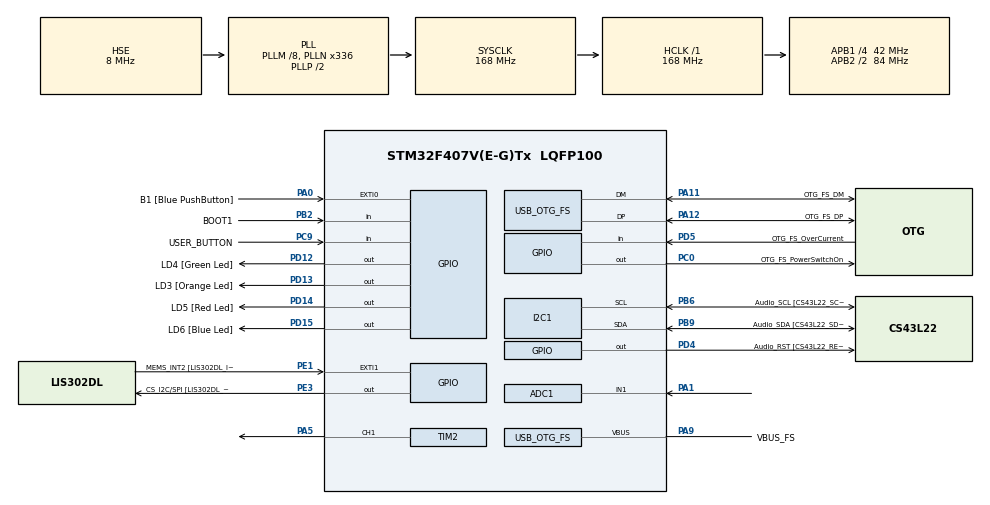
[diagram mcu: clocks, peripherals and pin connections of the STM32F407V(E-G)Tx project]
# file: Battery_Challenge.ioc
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ADC1.Channel-0\#ChannelRegularConversion=ADC_CHANNEL_1
ADC1.NbrOfConversionFlag=1
ADC1.Rank-0\#ChannelRegularConversion=1
ADC1.SamplingTime-0\#ChannelRegularConversion=ADC_SAMPLETIME_480CYCLES
ADC1.master=1
Mcu.Family=STM32F4
Mcu.Name=STM32F407V(E-G)Tx
Mcu.Package=LQFP100
NVIC.OTG_FS_IRQn=true\:0\:0\:false\:false\:true\:true\:true\:true
NVIC.PriorityGroup=NVIC_PRIORITYGROUP_0
PA0-WKUP.GPIO_Label=B1 [Blue PushButton]
PA0-WKUP.GPIO_ModeDefaultEXTI=GPIO_MODE_EVT_RISING
PA0-WKUP.GPIO_PuPd=GPIO_NOPULL
PA0-WKUP.Signal=GPXTI0
PA1.Signal=ADCx_IN1
PA10.GPIO_Label=OTG_FS_ID
PA10.GPIO_Mode=GPIO_MODE_AF_PP
PA10.GPIO_PuPd=GPIO_NOPULL
PA10.GPIO_Speed=GPIO_SPEED_FREQ_LOW
PA10.Signal=USB_OTG_FS_ID
PA11.GPIO_Label=OTG_FS_DM
PA11.GPIO_Mode=GPIO_MODE_AF_PP
PA11.GPIO_PuPd=GPIO_NOPULL
PA11.GPIO_Speed=GPIO_SPEED_FREQ_LOW
PA11.Mode=Host_Only
PA11.Signal=USB_OTG_FS_DM
PA12.GPIO_Label=OTG_FS_DP
PA12.GPIO_Mode=GPIO_MODE_AF_PP
PA12.GPIO_PuPd=GPIO_NOPULL
PA12.GPIO_Speed=GPIO_SPEED_FREQ_LOW
PA12.Mode=Host_Only
PA12.Signal=USB_OTG_FS_DP
PA13.GPIO_Label=SWDIO
PA13.Mode=Serial_Wire
PA13.Signal=SYS_JTMS-SWDIO
PA14.GPIO_Label=SWCLK
PA14.Mode=Serial_Wire
PA14.Signal=SYS_JTCK-SWCLK
PA5.Signal=S_TIM2_CH1_ETR
PA9.GPIO_Label=VBUS_FS
PA9.GPIO_Mode=GPIO_MODE_INPUT
PA9.GPIO_PuPd=GPIO_NOPULL
PA9.Mode=Activate_VBUS
PA9.Signal=USB_OTG_FS_VBUS
PB10.GPIO_Label=CLK_IN [MP45DT02_CLK]
PB10.GPIO_Mode=GPIO_MODE_AF_PP
PB10.GPIO_PuPd=GPIO_NOPULL
PB10.GPIO_Speed=GPIO_SPEED_FREQ_LOW
PB10.Signal=I2S2_CK
PB2.GPIO_Label=BOOT1
PB2.GPIO_Mode=GPIO_MODE_INPUT
PB2.GPIO_PuPd=GPIO_NOPULL
PB2.Signal=GPIO_Input
PB3.GPIO_Label=SWO
PB3.Signal=SYS_JTDO-SWO
PB6.GPIO_Label=Audio_SCL [CS43L22_SCL]
PB6.GPIO_Mode=GPIO_MODE_AF_OD
PB6.GPIO_Pu=GPIO_PULLUP
PB6.GPIO_PuPd=GPIO_NOPULL
PB6.GPIO_Speed=GPIO_SPEED_FREQ_LOW
PB6.Mode=I2C
PB6.Signal=I2C1_SCL
PB9.GPIO_Label=Audio_SDA [CS43L22_SDA]
PB9.GPIO_Mode=GPIO_MODE_AF_OD
PB9.GPIO_Pu=GPIO_PULLUP
PB9.GPIO_PuPd=GPIO_NOPULL
PB9.GPIO_Speed=GPIO_SPEED_FREQ_LOW
PB9.Mode=I2C
PB9.Signal=I2C1_SDA
PC0.GPIO_Label=OTG_FS_PowerSwitchOn
PC0.GPIO_PuPd=GPIO_NOPULL
PC0.GPIO_Speed=GPIO_SPEED_FREQ_LOW
PC0.PinState=GPIO_PIN_SET
PC0.Signal=GPIO_Output
PC10.GPIO_Label=I2S3_SCK [CS43L22_SCLK]
PC10.GPIO_Mode=GPIO_MODE_AF_PP
PC10.GPIO_PuPd=GPIO_NOPULL
PC10.GPIO_Speed=GPIO_SPEED_FREQ_LOW
PC10.Signal=I2S3_CK
PC12.GPIO_Label=I2S3_SD [CS43L22_SDIN]
PC12.GPIO_Mode=GPIO_MODE_AF_PP
PC12.GPIO_PuPd=GPIO_NOPULL
PC12.GPIO_Speed=GPIO_SPEED_FREQ_LOW
PC12.Signal=I2S3_SD
PC14-OSC32_IN.GPIO_Label=PC14-OSC32_IN
PC14-OSC32_IN.Mode=LSE-External-Oscillator
PC14-OSC32_IN.Signal=RCC_OSC32_IN
PC15-OSC32_OUT.GPIO_Label=PC15-OSC32_OUT
PC15-OSC32_OUT.Mode=LSE-External-Oscillator
PC15-OSC32_OUT.Signal=RCC_OSC32_OUT
PC3.GPIO_Label=PDM_OUT [MP45DT02_DOUT]
PC3.GPIO_Mode=GPIO_MODE_AF_PP
PC3.GPIO_PuPd=GPIO_NOPULL
PC3.GPIO_Speed=GPIO_SPEED_FREQ_LOW
PC3.Signal=I2S2_SD
PC7.GPIO_Label=I2S3_MCK [CS43L22_MCLK]
PC7.GPIO_Mode=GPIO_MODE_AF_PP
PC7.GPIO_PuPd=GPIO_NOPULL
PC7.GPIO_Speed=GPIO_SPEED_FREQ_LOW
PC7.Signal=I2S3_MCK
PC9.GPIO_Label=USER_BUTTON
PC9.GPIO_PuPd=GPIO_PULLUP
PC9.Signal=GPIO_Input
PD12.GPIO_Label=LD4 [Green Led]
PD12.GPIO_PuPd=GPIO_NOPULL
PD12.GPIO_Speed=GPIO_SPEED_FREQ_LOW
PD12.Signal=GPIO_Output
PD13.GPIO_Label=LD3 [Orange Led]
PD13.GPIO_PuPd=GPIO_NOPULL
PD13.GPIO_Speed=GPIO_SPEED_FREQ_LOW
PD13.Signal=GPIO_Output
PD14.GPIO_Label=LD5 [Red Led]
PD14.GPIO_PuPd=GPIO_NOPULL
PD14.GPIO_Speed=GPIO_SPEED_FREQ_LOW
PD14.Signal=GPIO_Output
PD15.GPIO_Label=LD6 [Blue Led]
PD15.GPIO_PuPd=GPIO_NOPULL
PD15.GPIO_Speed=GPIO_SPEED_FREQ_LOW
PD15.Signal=GPIO_Output
PD4.GPIO_Label=Audio_RST [CS43L22_RESET]
PD4.GPIO_PuPd=GPIO_NOPULL
PD4.GPIO_Speed=GPIO_SPEED_FREQ_LOW
PD4.Signal=GPIO_Output
PD5.GPIO_Label=OTG_FS_OverCurrent
PD5.GPIO_Mode=GPIO_MODE_INPUT
PD5.GPIO_PuPd=GPIO_NOPULL
PD5.Signal=GPIO_Input
PE1.GPIO_Label=MEMS_INT2 [LIS302DL_INT2]
PE1.GPIO_ModeDefaultEXTI=GPIO_MODE_EVT_RISING
PE1.GPIO_PuPd=GPIO_NOPULL
PE1.Signal=GPXTI1
PE3.GPIO_Label=CS_I2C/SPI [LIS302DL_CS_I2C/SPI]
PE3.GPIO_PuPd=GPIO_NOPULL
PE3.GPIO_Speed=GPIO_SPEED_FREQ_LOW
PE3.Signal=GPIO_Output
PH0-OSC_IN.GPIO_Label=PH0-OSC_IN
PH0-OSC_IN.Mode=HSE-External-Oscillator
PH0-OSC_IN.Signal=RCC_OSC_IN
PH1-OSC_OUT.GPIO_Label=PH1-OSC_OUT
PH1-OSC_OUT.Mode=HSE-External-Oscillator
PH1-OSC_OUT.Signal=RCC_OSC_OUT
ProjectManager.HeapSize=0x200
ProjectManager.StackSize=0x400
ProjectManager.TargetToolchain=STM32CubeIDE
RCC.48MHZClocksFreq_Value=48000000
RCC.AHBFreq_Value=168000000
RCC.APB1CLKDivider=RCC_HCLK_DIV4
RCC.APB1Freq_Value=42000000
RCC.APB1TimFreq_Value=84000000
RCC.APB2CLKDivider=RCC_HCLK_DIV2
RCC.APB2Freq_Value=84000000
RCC.APB2TimFreq_Value=168000000
RCC.CortexFreq_Value=168000000
RCC.HCLKFreq_Value=168000000
RCC.HSE_VALUE=8000000
RCC.HSI_VALUE=16000000
RCC.PLLM=8
RCC.PLLN=336
RCC.PLLQ=7
RCC.SYSCLKFreq_VALUE=168000000
RCC.SYSCLKSource=RCC_SYSCLKSOURCE_PLLCLK
RCC.VCOOutputFreq_Value=336000000
SH.ADCx_IN1.0=ADC1_IN1,IN1
SH.S_TIM2_CH1_ETR.0=TIM2_CH1,PWM Generation1 CH1
TIM2.Channel-PWM\ Generation1\ CH1=TIM_CHANNEL_1
TIM2.Period=4999
TIM2.Prescaler=8399
TIM2.Pulse-PWM\ Generation1\ CH1=1
TIM2.TIM_MasterOutputTrigger=TIM_TRGO_UPDATE
USB_HOST.BSP.number=1
USB_HOST.USBH_HandleTypeDef-CDC_FS=hUsbHostFS
USB_HOST.VirtualModeFS=Cdc
USB_HOST0.BSP.STBoard=false
USB_HOST0.BSP.api=Unknown
USB_HOST0.BSP.instance=PC0
USB_HOST0.BSP.ip=GPIO
USB_HOST0.BSP.mode=Output
USB_HOST0.BSP.name=Drive_VBUS_FS
USB_HOST0.BSP.solution=PC0
USB_OTG_FS.VirtualMode=Host_Only
USB_OTG_FS.phy_itface=HCD_PHY_EMBEDDED
VP_TIM2_VS_ClockSourceINT.Mode=Internal
VP_USB_HOST_VS_USB_HOST_CDC_FS.Mode=CDC_FS
board=STM32F407G-DISC1

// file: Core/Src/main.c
/* USER CODE BEGIN Header */
/**
  ******************************************************************************
  * @file           : main.c
  * @brief          : Main program body
  ******************************************************************************
  * @attention
  *
  * Copyright (c) 2025 STMicroelectronics.
  * All rights reserved.
  *
  * This software is licensed under terms that can be found in the LICENSE file
  * in the root directory of this software component.
  * If no LICENSE file comes with this software, it is provided AS-IS.
  *
  ******************************************************************************
  */
/* USER CODE END Header */
#include "main.h"
#include "usb_host.h"

ADC_HandleTypeDef hadc1;

I2C_HandleTypeDef hi2c1;

TIM_HandleTypeDef htim2;

/* USER CODE BEGIN PV */

uint16_t gADC_Value = 0;
float gADC_Voltage = 0;

uint16_t gMode = 0;
uint16_t gLowVoltage = 0;

/* USER CODE END PV */

void SystemClock_Config(void);
static void MX_GPIO_Init(void);
static void MX_I2C1_Init(void);
static void MX_TIM2_Init(void);
static void MX_ADC1_Init(void);
void MX_USB_HOST_Process(void);

/* USER CODE BEGIN 0 */

float map(int x, int in_min, int in_max, float out_min, float out_max)
{
    return ((float)(x - in_min) * (out_max - out_min)) / (in_max - in_min) + out_min;
}

/* USER CODE END 0 */

int main(void)
{

  /* MCU Configuration--------------------------------------------------------*/

  /* Reset of all peripherals, Initializes the Flash interface and the Systick. */
  HAL_Init();

  /* Configure the system clock */
  SystemClock_Config();

  /* Initialize all configured peripherals */
  MX_GPIO_Init();
  MX_I2C1_Init();
  MX_USB_HOST_Init();
  MX_TIM2_Init();
  MX_ADC1_Init();
  /* USER CODE BEGIN 2 */

  HAL_TIM_PWM_Start(&htim2, TIM_CHANNEL_1);

  /* USER CODE END 2 */

  /* Infinite loop */
  /* USER CODE BEGIN WHILE */
  while (1)
  {

	  // --- Read ADC ---
	  HAL_ADC_Start(&hadc1);
	  HAL_ADC_PollForConversion(&hadc1, 100);
	  gADC_Value = HAL_ADC_GetValue(&hadc1);
	  HAL_ADC_Stop(&hadc1);

	  // --- Calculate voltage ---
	  gADC_Voltage = map(gADC_Value, 0, 4095, 0.0f, 12.0f);

	  // --- Hysteresis: Enter or exit lockout mode ---
	  if (gADC_Voltage <= 6.5f)
	  {
		  gLowVoltage = 1;
	  }
	  else if (gADC_Voltage >= 7.0f)
	  {
		  gLowVoltage = 0;
	  }

	  // --- Control output based on state ---
	  if (gLowVoltage)
	  {
		  // Force motor OFF (LED full ON)
	      __HAL_TIM_SET_COMPARE(&htim2, TIM_CHANNEL_1, 0);
	  }
	  else
	  {
		  // Handle button press for mode control
	      if (HAL_GPIO_ReadPin(USER_BUTTON_GPIO_Port, USER_BUTTON_Pin) == GPIO_PIN_RESET)
	      {
	    	  gMode++;
	          if (gMode >= 3)
	          {
	        	  gMode = 0;
	          }

	           HAL_Delay(300); // Debounce
	          }
	      switch (gMode)
	      {
	      case 0:
	    	  __HAL_TIM_SET_COMPARE(&htim2, TIM_CHANNEL_1, 0); // OFF
	      	  break;
	      case 1:
	    	  __HAL_TIM_SET_COMPARE(&htim2, TIM_CHANNEL_1, 1250); // Low speed
	      	  break;
	      case 2:
	    	  __HAL_TIM_SET_COMPARE(&htim2, TIM_CHANNEL_1, 4000); // Medium speed
	      	  break;
	      }
	   }

    /* USER CODE END WHILE */
    MX_USB_HOST_Process();

  }
}

void SystemClock_Config(void)
{
  RCC_OscInitTypeDef RCC_OscInitStruct = {0};
  RCC_ClkInitTypeDef RCC_ClkInitStruct = {0};

  /** Configure the main internal regulator output voltage
  */
  __HAL_RCC_PWR_CLK_ENABLE();
  __HAL_PWR_VOLTAGESCALING_CONFIG(PWR_REGULATOR_VOLTAGE_SCALE1);

  /** Initializes the RCC Oscillators according to the specified parameters
  * in the RCC_OscInitTypeDef structure.
  */
  RCC_OscInitStruct.OscillatorType = RCC_OSCILLATORTYPE_HSE;
  RCC_OscInitStruct.HSEState = RCC_HSE_ON;
  RCC_OscInitStruct.PLL.PLLState = RCC_PLL_ON;
  RCC_OscInitStruct.PLL.PLLSource = RCC_PLLSOURCE_HSE;
  RCC_OscInitStruct.PLL.PLLM = 8;
  RCC_OscInitStruct.PLL.PLLN = 336;
  RCC_OscInitStruct.PLL.PLLP = RCC_PLLP_DIV2;
  RCC_OscInitStruct.PLL.PLLQ = 7;
  if (HAL_RCC_OscConfig(&RCC_OscInitStruct) != HAL_OK)
  {
    Error_Handler();
  }

  /** Initializes the CPU, AHB and APB buses clocks
  */
  RCC_ClkInitStruct.ClockType = RCC_CLOCKTYPE_HCLK|RCC_CLOCKTYPE_SYSCLK
                              |RCC_CLOCKTYPE_PCLK1|RCC_CLOCKTYPE_PCLK2;
  RCC_ClkInitStruct.SYSCLKSource = RCC_SYSCLKSOURCE_PLLCLK;
  RCC_ClkInitStruct.AHBCLKDivider = RCC_SYSCLK_DIV1;
  RCC_ClkInitStruct.APB1CLKDivider = RCC_HCLK_DIV4;
  RCC_ClkInitStruct.APB2CLKDivider = RCC_HCLK_DIV2;

  if (HAL_RCC_ClockConfig(&RCC_ClkInitStruct, FLASH_LATENCY_5) != HAL_OK)
  {
    Error_Handler();
  }
}

static void MX_ADC1_Init(void)
{

  ADC_ChannelConfTypeDef sConfig = {0};

  /** Configure the global features of the ADC (Clock, Resolution, Data Alignment and number of conversion)
  */
  hadc1.Instance = ADC1;
  hadc1.Init.ClockPrescaler = ADC_CLOCK_SYNC_PCLK_DIV4;
  hadc1.Init.Resolution = ADC_RESOLUTION_12B;
  hadc1.Init.ScanConvMode = DISABLE;
  hadc1.Init.ContinuousConvMode = DISABLE;
  hadc1.Init.DiscontinuousConvMode = DISABLE;
  hadc1.Init.ExternalTrigConvEdge = ADC_EXTERNALTRIGCONVEDGE_NONE;
  hadc1.Init.ExternalTrigConv = ADC_SOFTWARE_START;
  hadc1.Init.DataAlign = ADC_DATAALIGN_RIGHT;
  hadc1.Init.NbrOfConversion = 1;
  hadc1.Init.DMAContinuousRequests = DISABLE;
  hadc1.Init.EOCSelection = ADC_EOC_SINGLE_CONV;
  if (HAL_ADC_Init(&hadc1) != HAL_OK)
  {
    Error_Handler();
  }

  /** Configure for the selected ADC regular channel its corresponding rank in the sequencer and its sample time.
  */
  sConfig.Channel = ADC_CHANNEL_1;
  sConfig.Rank = 1;
  sConfig.SamplingTime = ADC_SAMPLETIME_480CYCLES;
  if (HAL_ADC_ConfigChannel(&hadc1, &sConfig) != HAL_OK)
  {
    Error_Handler();
  }

}

static void MX_I2C1_Init(void)
{

  hi2c1.Instance = I2C1;
  hi2c1.Init.ClockSpeed = 100000;
  hi2c1.Init.DutyCycle = I2C_DUTYCYCLE_2;
  hi2c1.Init.OwnAddress1 = 0;
  hi2c1.Init.AddressingMode = I2C_ADDRESSINGMODE_7BIT;
  hi2c1.Init.DualAddressMode = I2C_DUALADDRESS_DISABLE;
  hi2c1.Init.OwnAddress2 = 0;
  hi2c1.Init.GeneralCallMode = I2C_GENERALCALL_DISABLE;
  hi2c1.Init.NoStretchMode = I2C_NOSTRETCH_DISABLE;
  if (HAL_I2C_Init(&hi2c1) != HAL_OK)
  {
    Error_Handler();
  }

}

static void MX_TIM2_Init(void)
{

  TIM_ClockConfigTypeDef sClockSourceConfig = {0};
  TIM_MasterConfigTypeDef sMasterConfig = {0};
  TIM_OC_InitTypeDef sConfigOC = {0};

  htim2.Instance = TIM2;
  htim2.Init.Prescaler = 8399;
  htim2.Init.CounterMode = TIM_COUNTERMODE_UP;
  htim2.Init.Period = 4999;
  htim2.Init.ClockDivision = TIM_CLOCKDIVISION_DIV1;
  htim2.Init.AutoReloadPreload = TIM_AUTORELOAD_PRELOAD_DISABLE;
  if (HAL_TIM_Base_Init(&htim2) != HAL_OK)
  {
    Error_Handler();
  }
  sClockSourceConfig.ClockSource = TIM_CLOCKSOURCE_INTERNAL;
  if (HAL_TIM_ConfigClockSource(&htim2, &sClockSourceConfig) != HAL_OK)
  {
    Error_Handler();
  }
  if (HAL_TIM_PWM_Init(&htim2) != HAL_OK)
  {
    Error_Handler();
  }
  sMasterConfig.MasterOutputTrigger = TIM_TRGO_UPDATE;
  sMasterConfig.MasterSlaveMode = TIM_MASTERSLAVEMODE_DISABLE;
  if (HAL_TIMEx_MasterConfigSynchronization(&htim2, &sMasterConfig) != HAL_OK)
  {
    Error_Handler();
  }
  sConfigOC.OCMode = TIM_OCMODE_PWM1;
  sConfigOC.Pulse = 1;
  sConfigOC.OCPolarity = TIM_OCPOLARITY_HIGH;
  sConfigOC.OCFastMode = TIM_OCFAST_DISABLE;
  if (HAL_TIM_PWM_ConfigChannel(&htim2, &sConfigOC, TIM_CHANNEL_1) != HAL_OK)
  {
    Error_Handler();
  }
  HAL_TIM_MspPostInit(&htim2);

}

static void MX_GPIO_Init(void)
{
  GPIO_InitTypeDef GPIO_InitStruct = {0};

  /* GPIO Ports Clock Enable */
  __HAL_RCC_GPIOE_CLK_ENABLE();
  __HAL_RCC_GPIOC_CLK_ENABLE();
  __HAL_RCC_GPIOH_CLK_ENABLE();
  __HAL_RCC_GPIOA_CLK_ENABLE();
  __HAL_RCC_GPIOB_CLK_ENABLE();
  __HAL_RCC_GPIOD_CLK_ENABLE();

  /*Configure GPIO pin Output Level */
  HAL_GPIO_WritePin(CS_I2C_SPI_GPIO_Port, CS_I2C_SPI_Pin, GPIO_PIN_RESET);

  /*Configure GPIO pin Output Level */
  HAL_GPIO_WritePin(OTG_FS_PowerSwitchOn_GPIO_Port, OTG_FS_PowerSwitchOn_Pin, GPIO_PIN_SET);

  /*Configure GPIO pin Output Level */
  HAL_GPIO_WritePin(GPIOD, LD4_Pin|LD3_Pin|LD5_Pin|LD6_Pin
                          |Audio_RST_Pin, GPIO_PIN_RESET);

  /*Configure GPIO pin : CS_I2C_SPI_Pin */
  GPIO_InitStruct.Pin = CS_I2C_SPI_Pin;
  GPIO_InitStruct.Mode = GPIO_MODE_OUTPUT_PP;
  GPIO_InitStruct.Pull = GPIO_NOPULL;
  GPIO_InitStruct.Speed = GPIO_SPEED_FREQ_LOW;
  HAL_GPIO_Init(CS_I2C_SPI_GPIO_Port, &GPIO_InitStruct);

  /*Configure GPIO pin : OTG_FS_PowerSwitchOn_Pin */
  GPIO_InitStruct.Pin = OTG_FS_PowerSwitchOn_Pin;
  GPIO_InitStruct.Mode = GPIO_MODE_OUTPUT_PP;
  GPIO_InitStruct.Pull = GPIO_NOPULL;
  GPIO_InitStruct.Speed = GPIO_SPEED_FREQ_LOW;
  HAL_GPIO_Init(OTG_FS_PowerSwitchOn_GPIO_Port, &GPIO_InitStruct);

  /*Configure GPIO pin : PDM_OUT_Pin */
  GPIO_InitStruct.Pin = PDM_OUT_Pin;
  GPIO_InitStruct.Mode = GPIO_MODE_AF_PP;
  GPIO_InitStruct.Pull = GPIO_NOPULL;
  GPIO_InitStruct.Speed = GPIO_SPEED_FREQ_LOW;
  GPIO_InitStruct.Alternate = GPIO_AF5_SPI2;
  HAL_GPIO_Init(PDM_OUT_GPIO_Port, &GPIO_InitStruct);

  /*Configure GPIO pin : B1_Pin */
  GPIO_InitStruct.Pin = B1_Pin;
  GPIO_InitStruct.Mode = GPIO_MODE_EVT_RISING;
  GPIO_InitStruct.Pull = GPIO_NOPULL;
  HAL_GPIO_Init(B1_GPIO_Port, &GPIO_InitStruct);

  /*Configure GPIO pin : BOOT1_Pin */
  GPIO_InitStruct.Pin = BOOT1_Pin;
  GPIO_InitStruct.Mode = GPIO_MODE_INPUT;
  GPIO_InitStruct.Pull = GPIO_NOPULL;
  HAL_GPIO_Init(BOOT1_GPIO_Port, &GPIO_InitStruct);

  /*Configure GPIO pin : CLK_IN_Pin */
  GPIO_InitStruct.Pin = CLK_IN_Pin;
  GPIO_InitStruct.Mode = GPIO_MODE_AF_PP;
  GPIO_InitStruct.Pull = GPIO_NOPULL;
  GPIO_InitStruct.Speed = GPIO_SPEED_FREQ_LOW;
  GPIO_InitStruct.Alternate = GPIO_AF5_SPI2;
  HAL_GPIO_Init(CLK_IN_GPIO_Port, &GPIO_InitStruct);

  /*Configure GPIO pins : LD4_Pin LD3_Pin LD5_Pin LD6_Pin
                           Audio_RST_Pin */
  GPIO_InitStruct.Pin = LD4_Pin|LD3_Pin|LD5_Pin|LD6_Pin
                          |Audio_RST_Pin;
  GPIO_InitStruct.Mode = GPIO_MODE_OUTPUT_PP;
  GPIO_InitStruct.Pull = GPIO_NOPULL;
  GPIO_InitStruct.Speed = GPIO_SPEED_FREQ_LOW;
  HAL_GPIO_Init(GPIOD, &GPIO_InitStruct);

  /*Configure GPIO pins : I2S3_MCK_Pin I2S3_SCK_Pin I2S3_SD_Pin */
  GPIO_InitStruct.Pin = I2S3_MCK_Pin|I2S3_SCK_Pin|I2S3_SD_Pin;
  GPIO_InitStruct.Mode = GPIO_MODE_AF_PP;
  GPIO_InitStruct.Pull = GPIO_NOPULL;
  GPIO_InitStruct.Speed = GPIO_SPEED_FREQ_LOW;
  GPIO_InitStruct.Alternate = GPIO_AF6_SPI3;
  HAL_GPIO_Init(GPIOC, &GPIO_InitStruct);

  /*Configure GPIO pin : USER_BUTTON_Pin */
  GPIO_InitStruct.Pin = USER_BUTTON_Pin;
  GPIO_InitStruct.Mode = GPIO_MODE_INPUT;
  GPIO_InitStruct.Pull = GPIO_PULLUP;
  HAL_GPIO_Init(USER_BUTTON_GPIO_Port, &GPIO_InitStruct);

  /*Configure GPIO pin : OTG_FS_OverCurrent_Pin */
  GPIO_InitStruct.Pin = OTG_FS_OverCurrent_Pin;
  GPIO_InitStruct.Mode = GPIO_MODE_INPUT;
  GPIO_InitStruct.Pull = GPIO_NOPULL;
  HAL_GPIO_Init(OTG_FS_OverCurrent_GPIO_Port, &GPIO_InitStruct);

  /*Configure GPIO pin : MEMS_INT2_Pin */
  GPIO_InitStruct.Pin = MEMS_INT2_Pin;
  GPIO_InitStruct.Mode = GPIO_MODE_EVT_RISING;
  GPIO_InitStruct.Pull = GPIO_NOPULL;
  HAL_GPIO_Init(MEMS_INT2_GPIO_Port, &GPIO_InitStruct);

}

void Error_Handler(void)
{
  __disable_irq();
  while (1)
  {
  }
}
